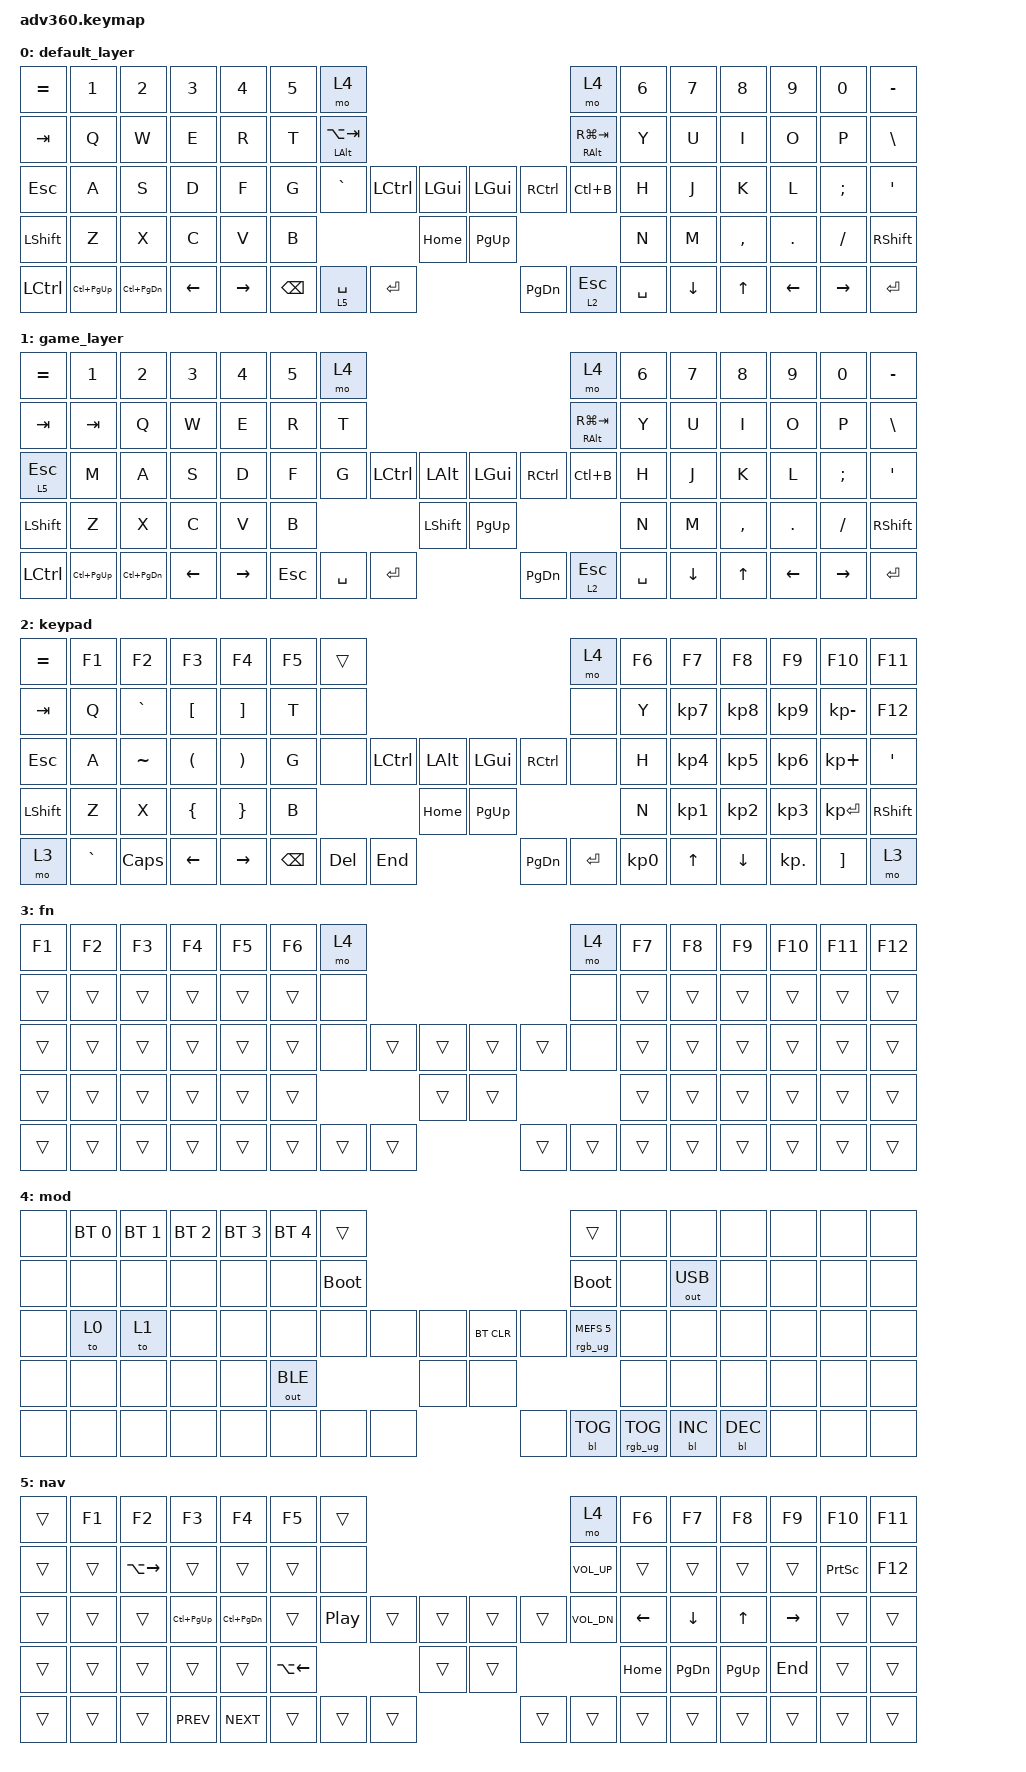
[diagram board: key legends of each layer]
#include <behaviors.dtsi>
#include <dt-bindings/zmk/keys.h>
#include <dt-bindings/zmk/bt.h>
#include <dt-bindings/zmk/rgb.h>
#include <dt-bindings/zmk/backlight.h>
#include <dt-bindings/zmk/outputs.h>

/ {
    behaviors {
      #include "macros.dtsi"

      hm: homerow_mods {
          compatible = "zmk,behavior-hold-tap";
          label = "HOMEROW_MODS";
          #binding-cells = <2>;
          tapping-term-ms = <200>;
          quick_tap_ms = <175>;
          flavor = "tap-preferred";
          bindings = <&kp>, <&kp>;
      };
    };

  keymap {
    compatible = "zmk,keymap";

    default_layer {
      bindings = <
        &kp EQUAL &kp N1        &kp N2        &kp N3   &kp N4     &kp N5 &mo 4                                                                              &mo 4              &kp N6 &kp N7   &kp N8    &kp N9   &kp N0    &kp MINUS
        &kp TAB   &kp Q         &kp W         &kp E    &kp R      &kp T  &mt LALT LA(TAB)                                                                   &mt RALT RG(TAB)   &kp Y  &kp U    &kp I     &kp O    &kp P     &kp BSLH
        &kp ESC   &kp A         &kp S         &kp D    &kp F      &kp G  &kp GRAVE                     &kp LCTRL   &kp LGUI   &kp LGUI  &kp RCTRL           &kp LC(B)          &kp H  &kp J    &kp K     &kp L    &kp SEMI  &kp SQT
        &kp LSHFT &kp Z         &kp X         &kp C    &kp V      &kp B                                            &kp HOME   &kp PG_UP                                        &kp N  &kp M    &kp COMMA &kp DOT  &kp FSLH  &kp RSHFT
        &kp LCTRL &kp LC(PG_UP) &kp LC(PG_DN) &kp LEFT &kp RIGHT                             &kp BSPC  &lt 5 SPACE &kp ENTER  &kp PG_DN &lt 2 ESC &kp SPACE                           &kp DOWN &kp UP    &kp LEFT &kp RIGHT &kp ENTER
      >;
    };

    game_layer {
      bindings = <
        &kp EQUAL &kp N1        &kp N2        &kp N3   &kp N4     &kp N5 &mo 4                                                                              &mo 4              &kp N6 &kp N7   &kp N8    &kp N9   &kp N0    &kp MINUS
        &kp TAB   &kp TAB       &kp Q         &kp W    &kp E      &kp R  &kp T                                                                              &mt RALT RG(TAB)   &kp Y  &kp U    &kp I     &kp O    &kp P     &kp BSLH
        &lt 5 ESC &kp M         &kp A         &kp S    &kp D      &kp F  &kp G                         &kp LCTRL   &kp LALT   &kp LGUI  &kp RCTRL           &kp LC(B)          &kp H  &kp J    &kp K     &kp L    &kp SEMI  &kp SQT
        &kp LSHFT &kp Z         &kp X         &kp C    &kp V      &kp B                                            &kp LSHFT  &kp PG_UP                                        &kp N  &kp M    &kp COMMA &kp DOT  &kp FSLH  &kp RSHFT
        &kp LCTRL &kp LC(PG_UP) &kp LC(PG_DN) &kp LEFT &kp RIGHT                             &kp ESC   &kp SPACE   &kp ENTER  &kp PG_DN &lt 2 ESC &kp SPACE                           &kp DOWN &kp UP    &kp LEFT &kp RIGHT &kp ENTER
      >;
    };

    keypad {
      bindings = <
        &kp EQUAL &kp F1    &kp F2     &kp F3   &kp F4     &kp F5 &trans                                                           &mo 4 &kp F6 &kp F7     &kp F8       &kp F9        &kp F10         &kp F11
        &kp TAB   &kp Q     &kp GRAVE  &kp LBKT &kp RBKT   &kp T  &none                                                            &none &kp Y  &kp KP_N7  &kp KP_N8    &kp KP_N9     &kp KP_MINUS    &kp F12
        &kp ESC   &kp A     &kp TILDE  &kp LPAR &kp RPAR   &kp G  &none           &kp LCTRL &kp LALT &kp LGUI  &kp RCTRL           &none &kp H  &kp KP_N4  &kp KP_N5    &kp KP_N6     &kp KP_PLUS     &kp SQT
        &kp LSHFT &kp Z     &kp X      &kp LBRC &kp RBRC   &kp B                            &kp HOME &kp PG_UP                           &kp N  &kp KP_N1  &kp KP_N2    &kp KP_N3     &kp KP_ENTER    &kp RSHFT
        &mo 3     &kp GRAVE &kp CAPS   &kp LEFT &kp RIGHT                &kp BSPC &kp DEL   &kp END  &kp PG_DN &kp ENTER &kp KP_N0              &kp UP     &kp DOWN     &kp KP_DOT    &kp RBKT        &mo 3
      >;
    };

    fn {
      bindings = <
        &kp F1 &kp F2 &kp F3 &kp F4 &kp F5 &kp F6 &mo 4                                            &mo 4 &kp F7 &kp F8 &kp F9 &kp F10 &kp F11 &kp F12
        &trans &trans &trans &trans &trans &trans  &none                                           &none &trans &trans &trans &trans  &trans  &trans
        &trans &trans &trans &trans &trans &trans  &none        &trans &trans &trans &trans        &none &trans &trans &trans &trans  &trans  &trans
        &trans &trans &trans &trans &trans &trans                      &trans &trans                     &trans &trans &trans &trans  &trans  &trans
        &trans &trans &trans &trans &trans               &trans &trans &trans &trans &trans &trans              &trans &trans &trans  &trans  &trans
      >;
    };

    mod {
      bindings = <
        &none &bt BT_SEL 0 &bt BT_SEL 1 &bt BT_SEL 2 &bt BT_SEL 3 &bt BT_SEL 4 &trans                                                                    &trans                 &none        &none        &none        &none &none &none
        &none &none        &none        &none        &none        &none        &bootloader                                                               &bootloader            &none        &out OUT_USB &none        &none &none &none
        &none &to 0        &to 1        &none        &none        &none        &none                   &none &none &bt BT_CLR &none                      &rgb_ug RGB_MEFS_CMD 5 &none        &none        &none        &none &none &none
        &none &none        &none        &none        &none        &out OUT_BLE                               &none &none                                                        &none        &none        &none        &none &none &none
        &none &none        &none        &none        &none                                       &none &none &none &none      &bl BL_TOG &rgb_ug RGB_TOG                                     &bl BL_INC   &bl BL_DEC   &none &none &none
      >;
    };

    nav {
      bindings = <
        &trans &kp F1 &kp F2        &kp F3        &kp F4        &kp F5        &trans                                                           &mo 4        &kp F6   &kp F7    &kp F8    &kp F9    &kp F10    &kp F11
        &trans &trans &kp LA(RIGHT) &trans        &trans        &trans        &none                                                            &kp C_VOL_UP &trans   &trans    &trans    &trans    &kp PSCRN  &kp F12
        &trans &trans &trans        &kp LC(PG_UP) &kp LC(PG_DN) &trans        &kp C_PLAY_PAUSE           &trans &trans &trans &trans           &kp C_VOL_DN &kp LEFT &kp DOWN  &kp UP    &kp RIGHT &trans     &trans
        &trans &trans &trans        &trans        &trans        &kp LA(LEFT)                                    &trans &trans                               &kp HOME &kp PG_DN &kp PG_UP &kp END   &trans     &trans
        &trans &trans &trans        &kp C_PREV    &kp C_NEXT                                      &trans &trans &trans &trans &trans &trans                          &trans    &trans    &trans    &trans     &trans
      >;
    };

  };
};
